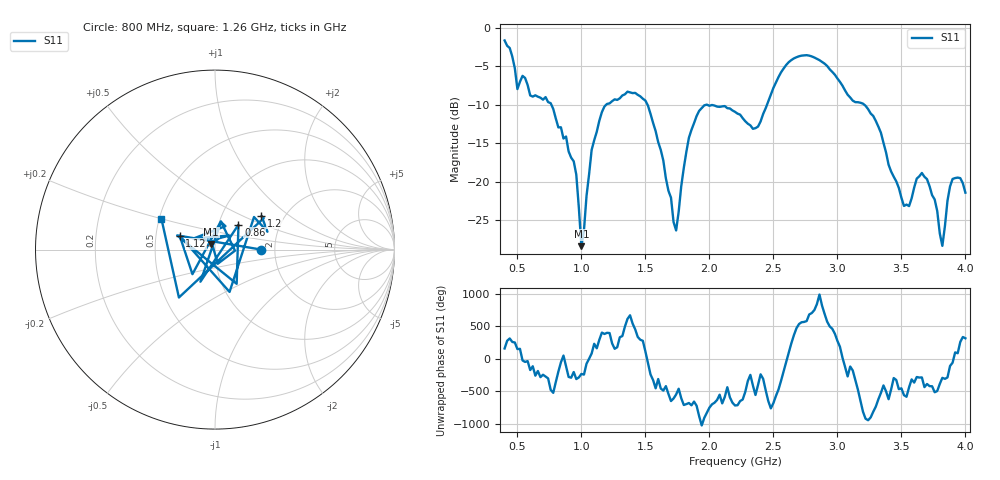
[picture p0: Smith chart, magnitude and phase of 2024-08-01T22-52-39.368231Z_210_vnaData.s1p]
!Created with skrf (http://scikit-rf.org).
# Hz S RI R 50.0
!freq ReS11 ImS11
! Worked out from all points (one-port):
!   181 points, 400 MHz to 4 GHz, reference 50 ohm
!   lowest |S11| = -28.4 dB at 1 GHz (marker M1), VSWR 1.08, Z = 47.8 + j3.02 ohm
!   |S11| at or under -10 dB: 1.517 GHz to 1.974 GHz (457.3 MHz wide, 26.2 % of centre); 1.984 GHz to 2.45 GHz (466.2 MHz wide, 21 % of centre); 3.211 GHz to end of sweep (the widest 3 of 4)
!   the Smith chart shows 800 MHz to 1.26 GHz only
!   S11 on the Smith chart (normalised r, x): 800 MHz: 1.69, +0.00; 860 MHz: 1.24, +0.36; 1.12 GHz: 0.66, +0.11; 1.2 GHz: 1.53, +0.65; 1.26 GHz: 0.51, +0.20
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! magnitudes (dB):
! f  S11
! 400 MHz  -1.6
! 500 MHz  -7.9
! 800 MHz  -11.8
! 860 MHz  -14.4
! 960 MHz  -19.1
! 1 GHz  -28.4
! 1.08 GHz  -15.9
! 1.12 GHz  -13.5
! 1.2 GHz  -9.9
! 1.26 GHz  -9.3
! 1.3 GHz  -9.1
! 1.5 GHz  -9.4
! 1.64 GHz  -17.3
! 1.72 GHz  -25.3
! 1.76 GHz  -23.9
! 1.84 GHz  -14.3
! 1.92 GHz  -10.8
! 2.2 GHz  -10.9
! 2.38 GHz  -12.8
! 2.66 GHz  -3.9
! 3.1 GHz  -9.0
! 3.28 GHz  -11.5
! 3.56 GHz  -23.2
! 3.66 GHz  -18.9
! 3.76 GHz  -22.3
! 3.82 GHz  -28.4
! 3.9 GHz  -19.7
! 4 GHz  -21.5
